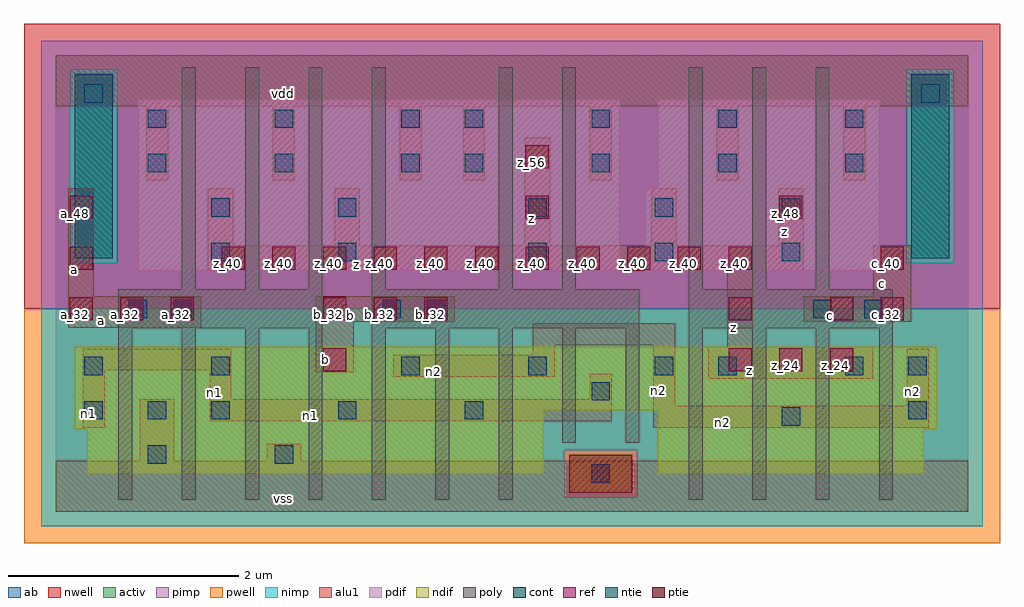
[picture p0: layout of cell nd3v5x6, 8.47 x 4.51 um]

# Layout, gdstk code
import gdstk
lib = gdstk.Library(unit=1e-6, precision=2.5e-09)
def R(c, l, rs):  # rectangles x0, y0, x1, y1
    for r in rs: c.add(gdstk.rectangle(r[:2], r[2:], *l))
def A(c, l, x, y, w, h, nx, ny, dx, dy):  # array of equal rectangles
    R(c, l, [(x+i*dx, y+j*dy, x+i*dx+w, y+j*dy+h) for i in range(nx) for j in range(ny)])
ndif = (3, 0)
pdif = (4, 0)
ntie = (5, 0)
ptie = (6, 0)
ref = (24, 0)
cont = (25, 0)
pwell = (41, 0)
nwell = (42, 0)
activ = (43, 0)
pimp = (44, 0)
nimp = (45, 0)
poly = (46, 0)
alu1 = (49, 0)
ab = (63, 0)

nd3v5x6 = lib.new_cell('nd3v5x6')
R(nd3v5x6, ndif, [(0.275,0.33,4.235,0.715), (5.225,0.33,7.535,0.715), (0.165,0.715,4.235,0.88), (5.225,0.715,7.645,0.88), (0.165,0.88,7.645,1.43)])
R(nd3v5x6, pdif, [(0.715,2.09,4.895,3.575), (5.115,2.09,7.15,2.805), (5.225,2.805,7.15,3.575)])
R(nd3v5x6, ntie, [(0.165,2.2,0.495,3.795), (7.425,2.2,7.755,3.795)])
R(nd3v5x6, ptie, [(4.455,0.165,5.005,0.495)])
A(nd3v5x6, ref, 5.84, 1.22, 0.2, 0.2, 3, 1, 0.44, 0)
A(nd3v5x6, ref, 0.12, 1.66, 0.2, 0.2, 3, 1, 0.44, 0)
A(nd3v5x6, ref, 2.32, 1.66, 0.2, 0.2, 3, 1, 0.44, 0)
A(nd3v5x6, ref, 1.44, 2.1, 0.2, 0.2, 11, 1, 0.44, 0)
R(nd3v5x6, ref, [(2.32,1.22,2.52,1.42), (5.84,1.66,6.04,1.86), (6.72,1.66,6.92,1.86), (7.16,1.66,7.36,1.86), (0.12,2.1,0.32,2.3), (7.16,2.1,7.36,2.3), (0.12,2.54,0.32,2.74), (4.08,2.54,4.28,2.74), (6.28,2.54,6.48,2.74), (4.08,2.98,4.28,3.18)])
A(nd3v5x6, cont, 0.25, 0.8, 0.16, 0.16, 3, 1, 0.55, 0)
A(nd3v5x6, cont, 3, 1.185, 0.16, 0.16, 3, 1, 1.1, 0)
A(nd3v5x6, cont, 4.1, 2.175, 0.16, 0.16, 3, 2, 1.1, 0.385)
A(nd3v5x6, cont, 0.8, 2.945, 0.16, 0.16, 3, 2, 1.1, 0.385)
A(nd3v5x6, cont, 3.55, 2.945, 0.16, 0.16, 4, 2, 1.1, 0.385)
R(nd3v5x6, cont, [(4.65,0.25,4.81,0.41), (0.8,0.415,0.96,0.575), (1.9,0.415,2.06,0.575), (6.3,0.745,6.46,0.905), (2.45,0.8,2.61,0.96), (3.55,0.8,3.71,0.96), (7.4,0.8,7.56,0.96), (4.65,0.965,4.81,1.125), (0.25,1.185,0.41,1.345), (1.35,1.185,1.51,1.345), (5.75,1.185,5.91,1.345), (6.85,1.185,7.01,1.345), (7.4,1.185,7.56,1.345), (0.635,1.68,0.795,1.84), (1.02,1.68,1.18,1.84), (2.835,1.68,2.995,1.84), (3.22,1.68,3.38,1.84), (6.575,1.68,6.735,1.84), (7.015,1.68,7.175,1.84), (1.35,2.175,1.51,2.335), (2.45,2.175,2.61,2.335), (1.35,2.56,1.51,2.72), (2.45,2.56,2.61,2.72), (0.25,3.55,0.41,3.71), (7.51,3.55,7.67,3.71)])
R(nd3v5x6, pwell, [(-0.275,-0.275,8.195,1.76)])
R(nd3v5x6, nwell, [(-0.275,1.76,8.195,4.235)])
R(nd3v5x6, activ, [(4.455,0.165,5.005,0.495), (0.275,0.33,4.235,0.715), (5.225,0.33,7.535,0.715), (0.165,0.715,4.235,0.88), (5.225,0.715,7.645,0.88), (0.165,0.88,7.645,1.43), (0.715,2.09,4.895,3.575), (5.115,2.09,7.15,2.805), (0.165,2.2,0.495,3.795), (7.425,2.2,7.755,3.795), (5.225,2.805,7.15,3.575)])
R(nd3v5x6, pimp, [(4.415,0.125,5.045,0.535), (-0.125,1.76,8.045,2.16), (-0.125,2.16,0.125,3.835), (0.535,2.16,7.385,3.835), (7.795,2.16,8.045,3.835), (-0.125,3.835,8.045,4.085)])
R(nd3v5x6, nimp, [(-0.125,-0.125,8.045,0.125), (-0.125,0.125,4.415,0.535), (5.045,0.125,8.045,0.535), (-0.125,0.535,8.045,1.76), (0.125,2.16,0.535,3.835), (7.385,2.16,7.795,3.835)])
A(nd3v5x6, poly, 0.545, 0.105, 0.12, 1.485, 7, 1, 0.55, 0)
A(nd3v5x6, poly, 5.495, 0.105, 0.12, 1.485, 4, 1, 0.55, 0)
A(nd3v5x6, poly, 1.095, 1.93, 0.12, 1.925, 4, 1, 0.55, 0)
A(nd3v5x6, poly, 5.495, 1.93, 0.12, 1.925, 3, 1, 0.55, 0)
R(nd3v5x6, poly, [(4.395,0.6,4.515,1.59), (4.945,0.6,5.065,1.59), (0.545,1.59,2.315,1.93), (2.745,1.59,5.065,1.93), (5.495,1.59,7.265,1.93), (3.845,1.93,3.965,3.855), (4.395,1.93,4.515,3.855)])
A(nd3v5x6, alu1, 0.785, 2.875, 0.19, 0.645, 3, 1, 1.1, 0)
A(nd3v5x6, alu1, 3.535, 2.875, 0.19, 0.645, 4, 1, 1.1, 0)
R(nd3v5x6, alu1, [(0,0,7.92,0.44), (0.73,0.44,1.03,0.975), (1.83,0.44,2.13,0.59), (0.235,0.73,0.425,1.225), (5.185,0.73,7.575,0.92), (1.335,0.785,4.825,0.975), (5.185,0.92,5.375,1.445), (7.385,0.92,7.575,1.415), (1.335,0.975,1.525,1.225), (4.635,0.975,4.825,1.195), (5.665,1.155,7.095,1.43), (2.93,1.17,4.33,1.36), (2.255,1.21,2.585,1.65), (0.235,1.225,1.525,1.415), (4.14,1.36,4.33,1.445), (5.83,1.43,6.05,2.09), (4.14,1.445,5.375,1.635), (0.11,1.595,1.265,1.87), (2.255,1.65,3.465,1.87), (6.49,1.65,7.425,1.87), (0.11,1.87,0.33,2.805), (7.095,1.87,7.425,2.31), (1.32,2.09,6.49,2.31), (1.32,2.31,1.54,2.805), (2.42,2.31,2.64,2.805), (4.07,2.31,4.29,3.245), (5.17,2.31,5.39,2.805), (6.27,2.31,6.49,2.805), (0,3.52,7.92,3.96)])
R(nd3v5x6, ab, [(0,0,7.92,3.96)])
nd3v5x6.add(gdstk.Label('vss', (1.98,0.11), layer=49, texttype=0))
nd3v5x6.add(gdstk.Label('n2', (5.7825,0.7775), layer=49, texttype=0))
nd3v5x6.add(gdstk.Label('n2', (7.4325,1.0425), layer=49, texttype=0))
nd3v5x6.add(gdstk.Label('z', (6.0225,1.2225), layer=49, texttype=0))
nd3v5x6.add(gdstk.Label('c', (6.7225,1.705), layer=49, texttype=0))
nd3v5x6.add(gdstk.Label('c', (7.1775,1.98), layer=49, texttype=0))
nd3v5x6.add(gdstk.Label('z', (5.885,1.595), layer=49, texttype=0))
nd3v5x6.add(gdstk.Label('n2', (5.2325,1.05), layer=49, texttype=0))
nd3v5x6.add(gdstk.Label('n1', (2.2075,0.8325), layer=49, texttype=0))
nd3v5x6.add(gdstk.Label('n2', (3.28,1.2175), layer=49, texttype=0))
nd3v5x6.add(gdstk.Label('b', (2.3375,1.32), layer=49, texttype=0))
nd3v5x6.add(gdstk.Label('n1', (1.3825,1.0375), layer=49, texttype=0))
nd3v5x6.add(gdstk.Label('n1', (0.2825,0.8525), layer=49, texttype=0))
nd3v5x6.add(gdstk.Label('b', (2.5575,1.705), layer=49, texttype=0))
nd3v5x6.add(gdstk.Label('a', (0.3975,1.6625), layer=49, texttype=0))
nd3v5x6.add(gdstk.Label('z', (2.6125,2.145), layer=49, texttype=0))
nd3v5x6.add(gdstk.Label('z', (6.325,2.4325), layer=49, texttype=0))
nd3v5x6.add(gdstk.Label('z', (4.125,2.5425), layer=49, texttype=0))
nd3v5x6.add(gdstk.Label('a', (0.165,2.1025), layer=49, texttype=0))
nd3v5x6.add(gdstk.Label('vdd', (1.98,3.63), layer=49, texttype=0))
nd3v5x6.add(gdstk.Label('a_32', (0.17,1.71), layer=24, texttype=0))
nd3v5x6.add(gdstk.Label('c_32', (7.21,1.71), layer=24, texttype=0))
nd3v5x6.add(gdstk.Label('z_56', (4.13,3.03), layer=24, texttype=0))
nd3v5x6.add(gdstk.Label('z_40', (5.01,2.15), layer=24, texttype=0))
nd3v5x6.add(gdstk.Label('z_40', (4.57,2.15), layer=24, texttype=0))
nd3v5x6.add(gdstk.Label('z_40', (1.93,2.15), layer=24, texttype=0))
nd3v5x6.add(gdstk.Label('z_40', (2.37,2.15), layer=24, texttype=0))
nd3v5x6.add(gdstk.Label('z_40', (2.81,2.15), layer=24, texttype=0))
nd3v5x6.add(gdstk.Label('a_32', (0.61,1.71), layer=24, texttype=0))
nd3v5x6.add(gdstk.Label('z_48', (4.13,2.59), layer=24, texttype=0))
nd3v5x6.add(gdstk.Label('b_32', (2.37,1.71), layer=24, texttype=0))
nd3v5x6.add(gdstk.Label('z_40', (1.49,2.15), layer=24, texttype=0))
nd3v5x6.add(gdstk.Label('z_40', (3.25,2.15), layer=24, texttype=0))
nd3v5x6.add(gdstk.Label('z_40', (3.69,2.15), layer=24, texttype=0))
nd3v5x6.add(gdstk.Label('z_40', (4.13,2.15), layer=24, texttype=0))
nd3v5x6.add(gdstk.Label('a_40', (0.17,2.15), layer=24, texttype=0))
nd3v5x6.add(gdstk.Label('a_32', (1.05,1.71), layer=24, texttype=0))
nd3v5x6.add(gdstk.Label('b_32', (2.81,1.71), layer=24, texttype=0))
nd3v5x6.add(gdstk.Label('a_48', (0.17,2.59), layer=24, texttype=0))
nd3v5x6.add(gdstk.Label('b_24', (2.37,1.27), layer=24, texttype=0))
nd3v5x6.add(gdstk.Label('b_32', (3.25,1.71), layer=24, texttype=0))
nd3v5x6.add(gdstk.Label('z_40', (5.45,2.15), layer=24, texttype=0))
nd3v5x6.add(gdstk.Label('c_40', (7.21,2.15), layer=24, texttype=0))
nd3v5x6.add(gdstk.Label('c_32', (6.77,1.71), layer=24, texttype=0))
nd3v5x6.add(gdstk.Label('z_48', (6.33,2.59), layer=24, texttype=0))
nd3v5x6.add(gdstk.Label('z_24', (6.33,1.27), layer=24, texttype=0))
nd3v5x6.add(gdstk.Label('z_32', (5.89,1.71), layer=24, texttype=0))
nd3v5x6.add(gdstk.Label('z_24', (5.89,1.27), layer=24, texttype=0))
nd3v5x6.add(gdstk.Label('z_24', (6.77,1.27), layer=24, texttype=0))
nd3v5x6.add(gdstk.Label('z_40', (5.89,2.15), layer=24, texttype=0))

lib.write_gds('nd3v5x6.gds')
